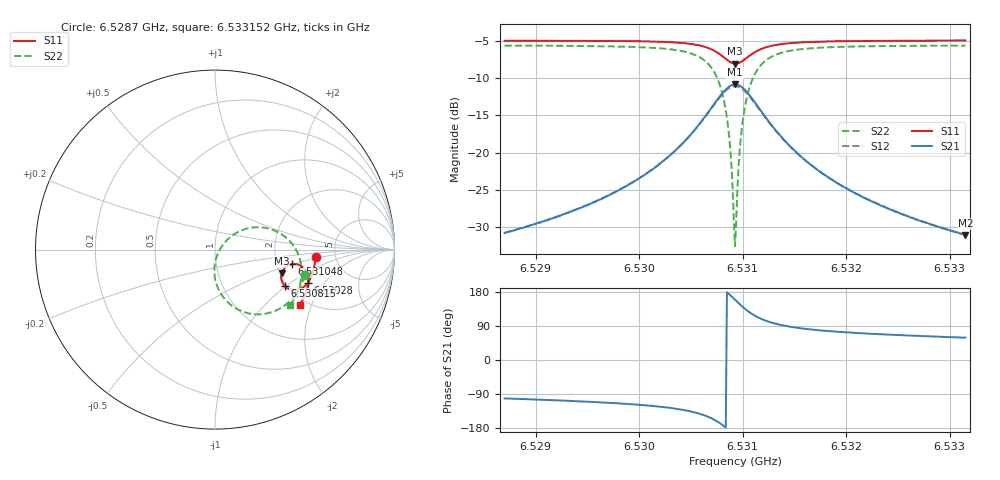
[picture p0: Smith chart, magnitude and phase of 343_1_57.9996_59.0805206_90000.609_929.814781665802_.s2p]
#  HZ  S  RI  R  50.00
! Rohde & Schwarz Vector Network Analyzer
! Rohde-Schwarz,ZNB20-2Port,1311601062101988,3.16
! Created: UTC 3/21/2024, 1:05:41 AM
! freq[Hz]  re:S11  im:S11  re:S21  im:S21  re:S12  im:S12  re:S22  im:S22
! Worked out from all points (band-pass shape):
!   401 points, 6.5287 GHz to 6.533152 GHz, reference 50 ohm
!   highest |S21| = -10.87 dB at 6.530926 GHz (marker M1); lowest = -31.0 dB at 6.533152 GHz (marker M2)
!   |S21| within 3 dB of the highest: 6.530704 GHz to 6.53115 GHz (445.1 kHz wide, 0.00681 % of centre)
!   lowest |S11| = -8.1 dB at 6.530926 GHz (marker M3), VSWR 2.30, Z = 102 - j32 ohm
!   |S11| at or under -10 dB: nowhere
!   |S22| runs from -32.5 to -5.7 dB; largest |S21 - S12| = 0.011
!   S11 on the Smith chart (normalised r, x): 6.5287 GHz: 3.51, -0.42; 6.53028 GHz: 2.62, -1.38; 6.530815 GHz: 1.95, -0.97; 6.531048 GHz: 2.43, -0.49; 6.533152 GHz: 1.82, -1.65
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6.5286998e9  0.56 -0.0407  -0.00574 -0.0284  -0.00624 -0.0284  0.5004 -0.1442
6.5294456e9  0.5511 -0.1019  -0.0144 -0.0404  -0.0152 -0.0403  0.4723 -0.2118
6.5301914e9  0.5248 -0.1734  -0.0453 -0.0699  -0.0472 -0.0688  0.3964 -0.3049
6.5302804e9  0.5181 -0.1838  -0.0547 -0.0761  -0.0568 -0.0746  0.3767 -0.3192
6.5304919e9  0.4923 -0.2097  -0.0928 -0.0919  -0.0955 -0.0889  0.3003 -0.353
6.5306477e9  0.4549 -0.2249  -0.1511 -0.0951  -0.1533 -0.0892  0.1926 -0.3562
6.5307479e9  0.4162 -0.2209  -0.2109 -0.0723  -0.2108 -0.0637  0.0901 -0.3097
6.5308147e9  0.3875 -0.2014  -0.2538 -0.0286  -0.2499 -0.0194  0.0233 -0.2294
6.5308704e9  0.3708 -0.1708  -0.2755 0.0311  -0.268 0.0386  -0.00361 -0.1265
6.5309038e9  0.3686 -0.148  -0.2748 0.0735  -0.2658 0.0788  0.004 -0.0567
6.5309149e9  0.3696 -0.1399  -0.2717 0.0876  -0.2624 0.0923  0.0112 -0.0337
6.530926e9  0.3713 -0.1323  -0.2673 0.1016  -0.2578 0.1053  0.0207 -0.0115
6.5309372e9  0.374 -0.1247  -0.2614 0.1152  -0.252 0.1179  0.0323 0.00967
6.5309483e9  0.3772 -0.1177  -0.2545 0.1279  -0.2449 0.1298  0.0461 0.0295
6.5309705e9  0.3862 -0.1048  -0.237 0.1506  -0.228 0.151  0.0784 0.0642
6.5309928e9  0.3972 -0.0947  -0.2163 0.1689  -0.2081 0.168  0.1154 0.091
6.5310485e9  0.4284 -0.0809  -0.1596 0.194  -0.154 0.1914  0.2134 0.1234
6.5311264e9  0.4667 -0.0846  -0.0922 0.1923  -0.0893 0.1897  0.3267 0.1081
6.5312377e9  0.4989 -0.107  -0.0354 0.1627  -0.0339 0.1614  0.4191 0.0445
6.5316718e9  0.52 -0.1826  0.0139 0.0804  0.0149 0.0802  0.4828 -0.1311
6.5324176e9  0.4996 -0.2556  0.0164 0.0384  0.0171 0.0384  0.455 -0.2461
6.5331523e9  0.4713 -0.3091  0.0145 0.024  0.015 0.0238  0.4195 -0.3083
